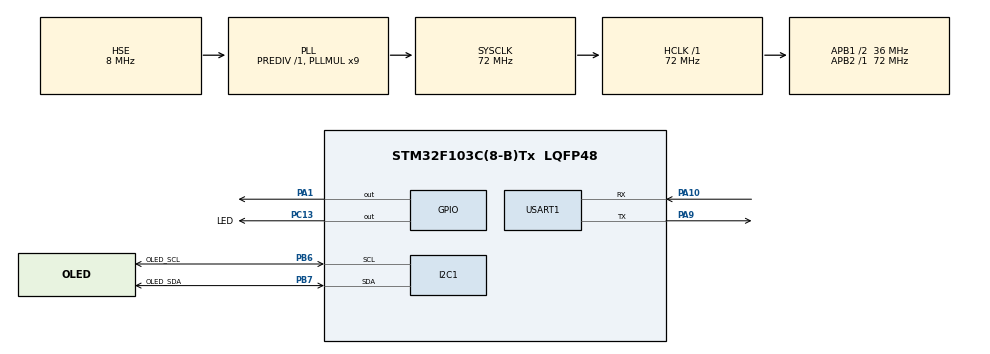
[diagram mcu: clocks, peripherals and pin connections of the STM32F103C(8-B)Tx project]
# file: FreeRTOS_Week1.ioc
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FREERTOS.Mutexes01=uartMutex,Dynamic,NULL,Available
FREERTOS.Queues01=sensorQueue,5,8,1,Dynamic,NULL,NULL;DHT11DataQueue,5,48,1,Dynamic,NULL,NULL;MPU6050DataQueue,5,48,1,Dynamic,NULL,NULL;FusedDataQueue,5,48,1,Dynamic,NULL,NULL
FREERTOS.Tasks01=Task_LED,24,128,StartLEDTask,Default,NULL,Dynamic,NULL,NULL;Task_Display,24,256,StartDisplayTask,Default,NULL,Dynamic,NULL,NULL;Sensor_Task1,24,256,Sensor_Task,Default,NULL,Dynamic,NULL,NULL;IMU,24,512,IMU_Task,Default,NULL,Dynamic,NULL,NULL;DataFusion,24,128,DataFusion_Task,Default,NULL,Dynamic,NULL,NULL
FREERTOS.configTOTAL_HEAP_SIZE=10240
FREERTOS.configUSE_NEWLIB_REENTRANT=1
Mcu.Family=STM32F1
Mcu.Name=STM32F103C(8-B)Tx
Mcu.Package=LQFP48
NVIC.PriorityGroup=NVIC_PRIORITYGROUP_4
NVIC.USART1_IRQn=true\:5\:0\:false\:false\:true\:true\:true\:true\:true
PA1.Signal=GPIO_Output
PA10.Mode=Asynchronous
PA10.Signal=USART1_RX
PA13.Mode=JTAG_4_pins
PA13.Signal=SYS_JTMS-SWDIO
PA14.Mode=JTAG_4_pins
PA14.Signal=SYS_JTCK-SWCLK
PA15.Mode=JTAG_4_pins
PA15.Signal=SYS_JTDI
PA9.Mode=Asynchronous
PA9.Signal=USART1_TX
PB3.Mode=JTAG_4_pins
PB3.Signal=SYS_JTDO-TRACESWO
PB6.GPIO_Label=OLED_SCL
PB6.Mode=I2C
PB6.Signal=I2C1_SCL
PB7.GPIO_Label=OLED_SDA
PB7.Mode=I2C
PB7.Signal=I2C1_SDA
PC13-TAMPER-RTC.GPIO_Label=LED
PC13-TAMPER-RTC.Signal=GPIO_Output
PD0-OSC_IN.Mode=HSE-External-Oscillator
PD0-OSC_IN.Signal=RCC_OSC_IN
PD1-OSC_OUT.Mode=HSE-External-Oscillator
PD1-OSC_OUT.Signal=RCC_OSC_OUT
ProjectManager.HeapSize=0x200
ProjectManager.StackSize=0x400
ProjectManager.TargetToolchain=STM32CubeIDE
RCC.AHBFreq_Value=72000000
RCC.APB1CLKDivider=RCC_HCLK_DIV2
RCC.APB1Freq_Value=36000000
RCC.APB1TimFreq_Value=72000000
RCC.APB2Freq_Value=72000000
RCC.APB2TimFreq_Value=72000000
RCC.HCLKFreq_Value=72000000
RCC.PLLMUL=RCC_PLL_MUL9
RCC.PLLSourceVirtual=RCC_PLLSOURCE_HSE
RCC.SYSCLKFreq_VALUE=72000000
RCC.SYSCLKSource=RCC_SYSCLKSOURCE_PLLCLK
RCC.USBFreq_Value=72000000
USART1.VirtualMode=VM_ASYNC
VP_FREERTOS_VS_CMSIS_V2.Mode=CMSIS_V2
board=custom

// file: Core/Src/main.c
/* USER CODE BEGIN Header */
//STMicroelectronics版权声明
//包含必要的许可证信息
/**
 ******************************************************************************
 * @file           : main.c
 * @brief          : Main program body
 ******************************************************************************
 * @attention
 *
 * Copyright (c) 2026 STMicroelectronics.
 * All rights reserved.
 *
 * This software is licensed under terms that can be found in the LICENSE file
 * in the root directory of this software component.
 * If no LICENSE file comes with this software, it is provided AS-IS.
 *
 ******************************************************************************
 */
/* USER CODE END Header */
#include "main.h"
#include "cmsis_os.h"
#include "i2c.h"
#include "usart.h"
#include "gpio.h"

/* USER CODE BEGIN Includes */
#include "ssd1306.h"  // 添加这行
#include "i2c.h"      // 可能也需要
#include "dht11.h"
#include <stdio.h>
/* USER CODE END Includes */

/* USER CODE BEGIN PTD */
//PTD：私有类型定义
/* USER CODE END PTD */

/* USER CODE BEGIN PD */
//PD：私有定义
/* USER CODE END PD */

/* USER CODE BEGIN PM */
//PM：私有宏
/* USER CODE END PM */

/* USER CODE BEGIN PV */
//PV：私有变量
/* USER CODE END PV */

void SystemClock_Config(void);
void MX_FREERTOS_Init(void);
/* USER CODE BEGIN PFP */
//PFP：用户定义的私有函数原型
/* USER CODE END PFP */

/* USER CODE BEGIN 0 */
extern I2C_HandleTypeDef hi2c1;

int _write(int file, char *ptr, int len) {
	HAL_UART_Transmit(&huart1, (uint8_t*) ptr, len, HAL_MAX_DELAY);
	return len;
}

// 声明safe_printf（因为main.c中也要用）
void safe_printf(const char *format, ...);

/* USER CODE END 0 */

int main(void)
{

  /* USER CODE BEGIN 1 */
//	DHT11_Data_t dht11_data;
//	uint8_t dht11_status;
//	uint32_t test_count = 0;
  /* USER CODE END 1 */

  /* MCU Configuration--------------------------------------------------------*/

  /* Reset of all peripherals, Initializes the Flash interface and the Systick. */
  HAL_Init();

  /* Configure the system clock */
  SystemClock_Config();

  /* Initialize all configured peripherals */
  MX_GPIO_Init();
  MX_I2C1_Init();
  MX_USART1_UART_Init();
  /* USER CODE BEGIN 2 */
	// 在这里添加OLED测试代码
//  OLED_Init(hi2c1);
//  OLED_Fill(0x00);
//  OLED_BOOL_DrawStr(0, 0, (uint8_t*)"OLED Test OK", OLED_BOOL_Replace);
//  OLED_Refresh();
//  HAL_Delay(2000);
//  OLED_Fill(0x00);
//  OLED_Refresh();
// 等待串口稳定
	HAL_Delay(100);

	// 原来的printf都改为safe_printf
//      safe_printf("\r\n\r\n");
//      safe_printf("================================\r\n");
//      safe_printf("  STM32F103 UART Test Program\r\n");
//      safe_printf("  Compiled: %s %s\r\n", __DATE__, __TIME__);
//      safe_printf("================================\r\n\r\n");
//
//      safe_printf("Integer test: %d\r\n", 1234);
//      safe_printf("Float test: PI = %.4f\r\n", 3.14159f);
//
//      float temperature = 25.5f;
//      float humidity = 60.3f;
//      safe_printf("DHT11 Simulation:\r\n");
//      safe_printf("  Temperature: %.1fC\r\n", temperature);
//      safe_printf("  Humidity: %.1f%%\r\n", humidity);
//
//      safe_printf("=== Test Complete, Starting FreeRTOS ===\r\n\r\n");
	printf("\r\n\r\n");
	printf("================================\r\n");
	printf("  STM32F103 UART Test Program\r\n");
	printf("  Compiled: %s %s\r\n", __DATE__, __TIME__);
	printf("================================\r\n\r\n");

	printf("Integer test: %d\r\n", 1234);
	printf("Float test: PI = %.4f\r\n", 3.14159f);

	float temperature = 25.5f;
	float humidity = 60.3f;
	printf("DHT11 Simulation:\r\n");
	printf("  Temperature: %.1fC\r\n", temperature);
	printf("  Humidity: %.1f%%\r\n", humidity);

	printf("=== Test Complete, Starting FreeRTOS ===\r\n\r\n");

  /* USER CODE END 2 */

  /* Init scheduler */
  osKernelInitialize();

  /* Call init function for freertos objects (in cmsis_os2.c) */
  MX_FREERTOS_Init();

  /* Start scheduler */
  osKernelStart();

  /* We should never get here as control is now taken by the scheduler */

  /* Infinite loop */
	while (1) {

	}
}

void SystemClock_Config(void)
{
  RCC_OscInitTypeDef RCC_OscInitStruct = {0};
  RCC_ClkInitTypeDef RCC_ClkInitStruct = {0};

  /** Initializes the RCC Oscillators according to the specified parameters
  * in the RCC_OscInitTypeDef structure.
  */
  RCC_OscInitStruct.OscillatorType = RCC_OSCILLATORTYPE_HSE;
  RCC_OscInitStruct.HSEState = RCC_HSE_ON;
  RCC_OscInitStruct.HSEPredivValue = RCC_HSE_PREDIV_DIV1;
  RCC_OscInitStruct.HSIState = RCC_HSI_ON;
  RCC_OscInitStruct.PLL.PLLState = RCC_PLL_ON;
  RCC_OscInitStruct.PLL.PLLSource = RCC_PLLSOURCE_HSE;
  RCC_OscInitStruct.PLL.PLLMUL = RCC_PLL_MUL9;
  if (HAL_RCC_OscConfig(&RCC_OscInitStruct) != HAL_OK)
  {
    Error_Handler();
  }

  /** Initializes the CPU, AHB and APB buses clocks
  */
  RCC_ClkInitStruct.ClockType = RCC_CLOCKTYPE_HCLK|RCC_CLOCKTYPE_SYSCLK
                              |RCC_CLOCKTYPE_PCLK1|RCC_CLOCKTYPE_PCLK2;
  RCC_ClkInitStruct.SYSCLKSource = RCC_SYSCLKSOURCE_PLLCLK;
  RCC_ClkInitStruct.AHBCLKDivider = RCC_SYSCLK_DIV1;
  RCC_ClkInitStruct.APB1CLKDivider = RCC_HCLK_DIV2;
  RCC_ClkInitStruct.APB2CLKDivider = RCC_HCLK_DIV1;

  if (HAL_RCC_ClockConfig(&RCC_ClkInitStruct, FLASH_LATENCY_2) != HAL_OK)
  {
    Error_Handler();
  }
}

void Error_Handler(void)
{
	__disable_irq();
	while (1) {
	}
}

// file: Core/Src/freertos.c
/* USER CODE BEGIN Header */
/**
 ******************************************************************************
 * File Name          : freertos.c
 * Description        : Code for freertos applications
 ******************************************************************************
 * @attention
 *
 * Copyright (c) 2026 STMicroelectronics.
 * All rights reserved.
 *
 * This software is licensed under terms that can be found in the LICENSE file
 * in the root directory of this software component.
 * If no LICENSE file comes with this software, it is provided AS-IS.
 *
 ******************************************************************************
 */
/* USER CODE END Header */

#include "FreeRTOS.h"
#include "task.h"
#include "main.h"
#include "cmsis_os.h"

/* USER CODE BEGIN Includes */

#include "ssd1306.h"
#include "i2c.h"        // 需要I2C句柄
#include <stdio.h>
#include <string.h>
#include "dht11.h"
#include "usart.h"  // 添加这行，包含huart1的声明
#include <stdarg.h>  // 需要这个头文件
#include "sensor_data.h"
#include "data_fusion.h"
#include "mpu6050.h"

/* USER CODE END Includes */

/* USER CODE BEGIN Variables */

extern I2C_HandleTypeDef hi2c1;
extern osMessageQueueId_t sensorQueueHandle;
extern UART_HandleTypeDef huart1;  // 添加这行，声明外部变量
MPU6050_t mpu_data;

/* USER CODE END Variables */
/* Definitions for Task_LED */
osThreadId_t Task_LEDHandle;
const osThreadAttr_t Task_LED_attributes = { .name = "Task_LED", .stack_size =
		128 * 4, .priority = (osPriority_t) osPriorityNormal, };
/* Definitions for Task_Display */
osThreadId_t Task_DisplayHandle;
const osThreadAttr_t Task_Display_attributes = { .name = "Task_Display",
		.stack_size = 256 * 4, .priority = (osPriority_t) osPriorityNormal, };
/* Definitions for Sensor_Task1 */
osThreadId_t Sensor_Task1Handle;
const osThreadAttr_t Sensor_Task1_attributes = { .name = "Sensor_Task1",
		.stack_size = 256 * 4, .priority = (osPriority_t) osPriorityNormal, };
/* Definitions for IMU */
osThreadId_t IMUHandle;
const osThreadAttr_t IMU_attributes = { .name = "IMU", .stack_size = 512 * 4,
		.priority = (osPriority_t) osPriorityNormal, };
/* Definitions for DataFusion */
osThreadId_t DataFusionHandle;
const osThreadAttr_t DataFusion_attributes = { .name = "DataFusion",
		.stack_size = 128 * 4, .priority = (osPriority_t) osPriorityNormal, };
/* Definitions for sensorQueue */
osMessageQueueId_t sensorQueueHandle;
const osMessageQueueAttr_t sensorQueue_attributes = { .name = "sensorQueue" };
/* Definitions for DHT11DataQueue */
osMessageQueueId_t DHT11DataQueueHandle;
const osMessageQueueAttr_t DHT11DataQueue_attributes = { .name =
		"DHT11DataQueue" };
/* Definitions for MPU6050DataQueue */
osMessageQueueId_t MPU6050DataQueueHandle;
const osMessageQueueAttr_t MPU6050DataQueue_attributes = { .name =
		"MPU6050DataQueue" };
/* Definitions for FusedDataQueue */
osMessageQueueId_t FusedDataQueueHandle;
const osMessageQueueAttr_t FusedDataQueue_attributes = { .name =
		"FusedDataQueue" };
/* Definitions for uartMutex */
osMutexId_t uartMutexHandle;
const osMutexAttr_t uartMutex_attributes = { .name = "uartMutex" };

/* USER CODE BEGIN FunctionPrototypes */

// 声明safe_printf函数
void safe_printf(const char *format, ...);

/* USER CODE END FunctionPrototypes */

void StartLEDTask(void *argument);
void StartDisplayTask(void *argument);
void Sensor_Task(void *argument);
void IMU_Task(void *argument);
void DataFusion_Task(void *argument);

void MX_FREERTOS_Init(void); /* (MISRA C 2004 rule 8.1) */

void MX_FREERTOS_Init(void) {
	/* USER CODE BEGIN Init */

	// 初始化LED为灭
	HAL_GPIO_WritePin(LED_GPIO_Port, LED_Pin, GPIO_PIN_SET);

	/* USER CODE END Init */
	/* Create the mutex(es) */
	/* creation of uartMutex */
	//uartMutexHandle = osMutexNew(&uartMutex_attributes);

	/* Create the queue(s) */
	/* creation of sensorQueue */
	sensorQueueHandle = osMessageQueueNew(5, 8, &sensorQueue_attributes);

	/* creation of DHT11DataQueue */
	//DHT11DataQueueHandle = osMessageQueueNew(5, 48, &DHT11DataQueue_attributes);

	/* creation of MPU6050DataQueue */
//	MPU6050DataQueueHandle = osMessageQueueNew(5, 48,
//			&MPU6050DataQueue_attributes);

	/* creation of FusedDataQueue */
	//FusedDataQueueHandle = osMessageQueueNew(5, 48, &FusedDataQueue_attributes);

	/* Create the thread(s) */
	/* creation of Task_LED */
	Task_LEDHandle = osThreadNew(StartLEDTask, NULL, &Task_LED_attributes);

	/* creation of Task_Display */
	Task_DisplayHandle = osThreadNew(StartDisplayTask, NULL,
			&Task_Display_attributes);

	/* creation of Sensor_Task1 */
	Sensor_Task1Handle = osThreadNew(Sensor_Task, NULL,
			&Sensor_Task1_attributes);

	/* creation of IMU */
//	IMUHandle = osThreadNew(IMU_Task, NULL, &IMU_attributes);

	/* creation of DataFusion */
//	DataFusionHandle = osThreadNew(DataFusion_Task, NULL,
//			&DataFusion_attributes);

}

void StartLEDTask(void *argument) {
	/* USER CODE BEGIN StartLEDTask */

	printf("初始化成功！！！！！！\n\n");
	// 启动后先亮1秒表示系统启动
	HAL_GPIO_WritePin(LED_GPIO_Port, LED_Pin, GPIO_PIN_RESET);
	osDelay(1000);
	HAL_GPIO_WritePin(LED_GPIO_Port, LED_Pin, GPIO_PIN_SET);
	osDelay(1000);

	for (;;) {
		// 系统心跳：每3秒闪一次（亮200ms）
		HAL_GPIO_WritePin(LED_GPIO_Port, LED_Pin, GPIO_PIN_RESET);
		osDelay(200);
		HAL_GPIO_WritePin(LED_GPIO_Port, LED_Pin, GPIO_PIN_SET);
		osDelay(2800);
	}

//	for (;;) {
//		// 亮1s
//		HAL_GPIO_WritePin(LED_GPIO_Port, LED_Pin, GPIO_PIN_RESET);
//
//		osDelay(1000);
//
//		// 灭2s（总共3秒周期）
//		HAL_GPIO_WritePin(LED_GPIO_Port, LED_Pin, GPIO_PIN_SET);
//
//		osDelay(2000);
//	}
	/* USER CODE END StartLEDTask */
}

void StartDisplayTask(void *argument) {
	/* USER CODE BEGIN StartDisplayTask */
	DHT11_Data_t sensor_data;
	char buffer[32];
	uint32_t display_counter = 0;
	//uint32_t data_count = 0;

// 等待系统稳定
	osDelay(800);

	// 初始化OLED
	OLED_Init(hi2c1);
	osDelay(50);  // 等待初始化完成

	// 清屏
	OLED_Fill(0x00);
	osDelay(50);

	// 显示固定标题
	OLED_BOOL_DrawStr(0, 0, (uint8_t*) "FreeRTOS Day4", 0x00);
	OLED_BOOL_DrawStr(0, 16, (uint8_t*) "DHT11 Online", 0x00);

	// 初始化显示
	OLED_BOOL_DrawStr(0, 32, (uint8_t*) "Run:000000", 0x00);

	// 初始化温湿度显示区域（显示"--"表示等待数据）
	OLED_BOOL_DrawStr(0, 48, (uint8_t*) "T:--C", 0x00);
	OLED_BOOL_DrawStr(64, 48, (uint8_t*) "H:--%", 0x00);
	OLED_Refresh();

	for (;;) {

		display_counter++;

		// 1. 更新运行计数器
		// 方案A：先写空格清除，再写新内容（简单可靠）
		OLED_BOOL_DrawStr(24, 32, (uint8_t*) "      ", 0x00); // 清除"Run:"后面的6位数字
		sprintf(buffer, "%06lu", display_counter);
		OLED_BOOL_DrawStr(24, 32, (uint8_t*) buffer, 0x00);

		// 2. 尝试获取传感器数据
		if (osMessageQueueGet(sensorQueueHandle, &sensor_data, NULL, 0)
				== osOK) {
			// 显示温度（先清除旧温度数字）
			OLED_BOOL_DrawStr(8, 48, (uint8_t*) "  ", 0x00);  // 清除温度数字（2位）
			sprintf(buffer, "%2d", (int) sensor_data.temperature);
			OLED_BOOL_DrawStr(8, 48, (uint8_t*) buffer, 0x00);

			// 显示湿度（先清除旧湿度数字）
			OLED_BOOL_DrawStr(72, 48, (uint8_t*) "  ", 0x00);  // 清除湿度数字（2位）
			sprintf(buffer, "%2d", sensor_data.humidity);
			OLED_BOOL_DrawStr(72, 48, (uint8_t*) buffer, 0x00);

			// 可选：显示数据计数
			// OLED_BOOL_DrawStr(64, 32, (uint8_t*)"     ", 0x00);
			// sprintf(buffer, "D:%03lu", data_count);
			// OLED_BOOL_DrawStr(64, 32, (uint8_t*)buffer, 0x00);
		} else {
			// 无新数据时显示"--"
			OLED_BOOL_DrawStr(8, 48, (uint8_t*) "--", 0x00);
			OLED_BOOL_DrawStr(72, 48, (uint8_t*) "--", 0x00);

		}

		OLED_Refresh();
		osDelay(1000);
	}

	/* USER CODE END StartDisplayTask */
}

void Sensor_Task(void *argument) {
	/* USER CODE BEGIN Sensor_Task */

	DHT11_Data_t sensor_data;
	sensor_data_t sensor_packet;
	uint8_t read_status;
	uint32_t read_count = 0;
	uint32_t success_count = 0;
	uint32_t fail_count = 0;
	static uint32_t packet_counter = 0;

	// 初始化DHT11
	if (DHT11_Init() != 0) {
		// 初始化失败：快速闪烁LED然后任务结束
		//safe_printf("[DHT11] Initialization failed!\n");
		printf("[DHT11] Initialization failed!\n\n");
		for (int i = 0; i < 10; i++) {
			HAL_GPIO_TogglePin(LED_GPIO_Port, LED_Pin);
			osDelay(100);
		}
		osThreadTerminate(osThreadGetId());
		return;
	}

	// 初始化成功：慢闪3次
	safe_printf("[DHT11] Initialization successful\n\n");
	//printf("[DHT11] Initialization successful\n");
	for (int i = 0; i < 3; i++) {
		HAL_GPIO_WritePin(LED_GPIO_Port, LED_Pin, GPIO_PIN_RESET);
		osDelay(300);
		HAL_GPIO_WritePin(LED_GPIO_Port, LED_Pin, GPIO_PIN_SET);
		osDelay(300);
	}

	for (;;) {
		// 读取DHT11
		read_status = DHT11_Read(&sensor_data);
		read_count++;

		if (read_status == 0) {
			// 读取成功
			success_count++;
			// 发送到队列
			osMessageQueuePut(sensorQueueHandle, &sensor_data, 0, 0);//突然不太懂这句话是啥意思，这个句柄是正确的吗？

			// 第3天核心：输出到串口
			uint32_t current_time = HAL_GetTick();
			safe_printf(
					"[%6lu] #%4lu | Temp: %5.1fC | Humi: %3d%% | OK:%3lu | Fail:%3lu\n\n",
					current_time, read_count, sensor_data.temperature,  // float
					sensor_data.humidity,         // uint8_t
					success_count, fail_count);
			printf(
					"[%6lu] #%4lu | Temp: %5.1fC | Humi: %3d%% | OK:%3lu | Fail:%3lu\n",
					current_time, read_count, sensor_data.temperature,  // float
					sensor_data.humidity,         // uint8_t
					success_count, fail_count);

//			sensor_packet.temperature_c = sensor_data.temperature;
//			sensor_packet.humidity = sensor_data.humidity;
//			sensor_packet.dht_status = 0;
//
//			sensor_packet.accel_x = 0.0f;
//			sensor_packet.accel_y = 0.0f;
//			sensor_packet.accel_z = 0.0f;
//			sensor_packet.gyro_x = 0.0f;
//			sensor_packet.gyro_y = 0.0f;
//			sensor_packet.gyro_z = 0.0f;
//			sensor_packet.imu_temp_c = 0.0f;
//			sensor_packet.imu_status = 0;
//
//			sensor_packet.timestamp_ms = HAL_GetTick();
//			sensor_packet.packet_id = packet_counter++;
//
//			osStatus_t queue_status = osMessageQueuePut(DHT11DataQueueHandle,
//					&sensor_packet, 0, 0);
//
//			if (queue_status == osOK) {
//				safe_printf("[DHT11] 数据包 %lu 已发送到队列\n",
//						sensor_packet.packet_id);
//			} else {
//				safe_printf("[DHT11] 错误： 无法发送数据包到队列（状态：%d）\n", queue_status);
//			}
//
//			uint32_t current_time = HAL_GetTick();
//			safe_printf(
//					"[%6lu] #%4lu | Temp: %5.1fC | Humi:%3d%% | OK:%3lu | Fail:%3lu | 已发送到队列\n\n",
//					current_time, read_count, sensor_data.temperature,
//					sensor_data.humidity, success_count, fail_count);

		} else {
			// 读取失败
			fail_count++;
			uint32_t current_time = HAL_GetTick();
			safe_printf(
					"[%6lu] #%4lu | DHT11 read failed (error: %d) | OK:%3lu | Fail:%3lu\n\n",
					current_time, read_count, read_status, success_count,
					fail_count);
			printf(
					"[%6lu] #%4lu | DHT11 read failed (error: %d) | OK:%3lu | Fail:%3lu\n",
					current_time, read_count, read_status, success_count,
					fail_count);

//			fail_count++;
//			sensor_packet.temperature_c = 0.0f;
//			sensor_packet.humidity = 0;
//			sensor_packet.dht_status = read_status;
//
//			sensor_packet.accel_x = 0.0f;
//			sensor_packet.accel_y = 0.0f;
//			sensor_packet.accel_z = 0.0f;
//			sensor_packet.gyro_x = 0.0f;
//			sensor_packet.gyro_y = 0.0f;
//			sensor_packet.gyro_z = 0.0f;
//			sensor_packet.imu_temp_c = 0.0f;
//			sensor_packet.imu_status = 0;
//
//			sensor_packet.timestamp_ms = HAL_GetTick();
//			sensor_packet.packet_id = packet_counter++;
//
//			osMessageQueuePut(DHT11DataQueueHandle, &sensor_packet, 0, 0);
//
//			uint32_t current_time = HAL_GetTick();
//			safe_printf(
//					"[%6lu] #%4lu | DHT11 read failed (error: %d) | OK:%3lu | Fail:%3lu\n\n",
//					current_time, read_count, read_status, success_count,
//					fail_count);
//			printf(
//					"[%6lu] #%4lu | DHT11 read failed (error: %d) | OK:%3lu | Fail:%3lu\n",
//					current_time, read_count, read_status, success_count,
//					fail_count);

		}

		// DHT11需要至少1秒间隔
		osDelay(2000);
	}

	/* USER CODE END Sensor_Task */
}

void IMU_Task(void *argument) {
	/* USER CODE BEGIN IMU_Task */

//	printf("[DEBUG] sizeof(sensor_data_t) = %d bytes\r\n",
//			(int) sizeof(sensor_data_t));

	printf("[IMU] MPU6050任务启动...\r\n");
	printf("[IMU] 尝试初始化MPU6050...\r\n");

	/* 初始化MPU6050 */
	uint8_t init_result = MPU6050_Init(&hi2c1);

	if (init_result != 0) {
		printf("[ERROR] MPU6050初始化失败！错误码：%d\r\n", init_result);
		printf("[提示] 请检查：\r\n");
		printf("  1. I2C连接 (SCL-PB6, SDA-PB7)\r\n");
		printf("  2. MPU6050电源 (VCC-3.3V, GND-GND)\r\n");
		printf("  3. AD0引脚 (接地=0x68)\r\n");
		vTaskDelete(NULL);
	}

	printf("[IMU] MPU6050初始化成功！\r\n");
	printf("[IMU] 开始读取传感器数据...\r\n\r\n");

//	sensor_data_t sensor_packet;
//	static uint32_t packet_counter = 0;

	/* Infinite loop */
	for (;;) {
		/* 读取所有传感器数据 */
		MPU6050_Read_All(&hi2c1, &mpu_data);

//		/* 输出到串口 - 格式化显示 */
//		printf("┌─────────────────────────────┐\r\n");
//		printf("│        MPU6050 数据         │\r\n");
//		printf("├─────────────────────────────┤\r\n");
//
//		// 加速度数据
//		printf("│ 加速度 (g)                  │\r\n");
//		printf("│   X: %+6.3f  Y: %+6.3f      │\r\n", mpu_data.Ax, mpu_data.Ay);
//		printf("│   Z: %+6.3f                 │\r\n", mpu_data.Az);
//
//		// 陀螺仪数据
//		printf("│ 陀螺仪 (°/s)                │\r\n");
//		printf("│   X: %+7.2f  Y: %+7.2f      │\r\n", mpu_data.Gx, mpu_data.Gy);
//		printf("│   Z: %+7.2f                 │\r\n", mpu_data.Gz);
//
//		// 温度
//		printf("│ 温度: %6.1f°C               │\r\n", mpu_data.Temperature);
//
//		// 卡尔曼滤波角度
//		printf("│ 角度 (°)                    │\r\n");
//		printf("│   Roll(X): %+6.2f           │\r\n", mpu_data.KalmanAngleX);
//		printf("│   Pitch(Y): %+6.2f          │\r\n", mpu_data.KalmanAngleY);
//
//		printf("└─────────────────────────────┘\r\n\r\n");

		// 简洁单行格式（只显示关键数据）
		safe_printf(
				"[IMU] Acc: %5.2f %5.2f %5.2f g | Gyro: %6.1f %6.1f %6.1f °/s | Temp: %4.1f°C | Ang: %5.1f %5.1f°\r\n\n",
				mpu_data.Ax, mpu_data.Ay, mpu_data.Az,  // 加速度 XYZ
				mpu_data.Gx, mpu_data.Gy, mpu_data.Gz,  // 陀螺仪 XYZ
				mpu_data.Temperature,                   // 温度
				mpu_data.KalmanAngleX, mpu_data.KalmanAngleY); // 角度

//		// 1. 填充MPU6050数据
//		sensor_packet.accel_x = mpu_data.Ax;
//		sensor_packet.accel_y = mpu_data.Ay;
//		sensor_packet.accel_z = mpu_data.Az;
//		sensor_packet.gyro_x = mpu_data.Gx;
//		sensor_packet.gyro_y = mpu_data.Gy;
//		sensor_packet.gyro_z = mpu_data.Gz;
//		sensor_packet.imu_temp_c = mpu_data.Temperature;
//		sensor_packet.imu_status = 0;  // 正常状态
//
//		// 2. DHT11字段先填0或默认值（因为没有DHT11数据）
//		sensor_packet.temperature_c = 0.0f;
//		sensor_packet.humidity = 0;
//		sensor_packet.dht_status = 255;  // 255表示无DHT11数据
//
//		// 3. 填充时间和包ID
//		sensor_packet.timestamp_ms = HAL_GetTick();
//		sensor_packet.packet_id = packet_counter++;
//
//		// 4. 发送到MPU6050队列
//		osStatus_t queue_status = osMessageQueuePut(MPU6050DataQueueHandle,
//				&sensor_packet, 0, 0);
//
//		if (queue_status == osOK) {
//			safe_printf("[MPU6050] 数据包 %lu 已发送到队列\n", sensor_packet.packet_id);
//		} else {
//			safe_printf("[MPU6050] 错误：无法发送数据包到队列（状态: %d）\n", queue_status);
//		}
//
//		safe_printf(
//				"[MPU6050] Acc: %5.2f %5.2f %5.2f g | Gyro: %6.1f %6.1f %6.1f °/s | Temp: %4.1f°C | 已发送到队列\n\n",
//				mpu_data.Ax, mpu_data.Ay, mpu_data.Az,  // 加速度 XYZ
//				mpu_data.Gx, mpu_data.Gy, mpu_data.Gz,  // 陀螺仪 XYZ
//				mpu_data.Temperature);                   // 温度

		/* 延迟1秒 */
		vTaskDelay(1000);
	}
	/* USER CODE END IMU_Task */
}

void DataFusion_Task(void *argument) {
	/* USER CODE BEGIN DataFusion_Task */

//	sensor_data_t dht11_packet;
//	sensor_data_t mpu6050_packet;
//	sensor_data_t fused_packet;
//
//	osStatus_t dht11_status;
//	osStatus_t mpu6050_status;
//
//	uint32_t dht11_timeout = 100;
//	uint32_t mpu6050_timeout = 50;
//
//	uint32_t fusion_counter = 0;
//	uint32_t last_print_time = 0;
//	uint32_t print_interval = 2000;
//
//	printf("[DataFusion] 数据融合任务启动！ \n\n");
//	printf("[DataFusion] 等待传感器数据···\n\n");
//
//	memset(&dht11_packet, 0, sizeof(dht11_packet));
//	memset(&mpu6050_packet, 0, sizeof(mpu6050_packet));
//
//	/* Infinite loop */
//	for (;;) {
//
//		dht11_status = osMessageQueueGet(DHT11DataQueueHandle, &dht11_packet,
//		NULL, dht11_timeout);
//		mpu6050_status = osMessageQueueGet(MPU6050DataQueueHandle,
//				&mpu6050_packet, NULL, mpu6050_timeout);
//
//		uint32_t current_time = HAL_GetTick();
//
//		if (dht11_status == osOK || mpu6050_status == osOK) {
//			fusion_counter++;
//
//			memset(&fused_packet, 0, sizeof(fused_packet));
//
//			if (dht11_status == osOK) {
//				fused_packet.temperature_c = dht11_packet.temperature_c;
//				fused_packet.humidity = dht11_packet.humidity;
//				fused_packet.dht_status = dht11_packet.dht_status;
//			} else {
//				fused_packet.temperature_c = 0.0;
//				fused_packet.humidity = 0;
//				fused_packet.dht_status = 255;
//			}
//
//			if (mpu6050_status == osOK) {
//				fused_packet.accel_x = mpu6050_packet.accel_x;
//				fused_packet.accel_y = mpu6050_packet.accel_y;
//				fused_packet.accel_z = mpu6050_packet.accel_z;
//				fused_packet.gyro_x = mpu6050_packet.gyro_x;
//				fused_packet.gyro_y = mpu6050_packet.gyro_y;
//				fused_packet.gyro_z = mpu6050_packet.gyro_z;
//				fused_packet.imu_temp_c = mpu6050_packet.imu_temp_c;
//				fused_packet.imu_status = mpu6050_packet.imu_status;
//			} else {
//				// 未收到MPU6050数据
//				fused_packet.accel_x = 0.0f;
//				fused_packet.accel_y = 0.0f;
//				fused_packet.accel_z = 0.0f;
//				fused_packet.gyro_x = 0.0f;
//				fused_packet.gyro_y = 0.0f;
//				fused_packet.gyro_z = 0.0f;
//				fused_packet.imu_temp_c = 0.0f;
//				fused_packet.imu_status = 255;  // 255表示数据不可用
//			}
//
//			fused_packet.timestamp_ms = current_time;
//			fused_packet.packet_id = fusion_counter;
//
//			osStatus_t fused_status = osMessageQueuePut(FusedDataQueueHandle,
//					&fused_packet, 0, 0);
//
//			if (fused_status != osOK) {
//				safe_printf("[DataFusion] 警告：融合数据发送失败（状态：%d）\n", fused_status);
//			}
//
//			if (current_time - last_print_time > print_interval) {
//				last_print_time = current_time;
//
//				safe_printf(
//						"\n=================== 融合数据包 #%lu ===================\n",
//						fusion_counter);
//				safe_printf("时间戳: %lu ms\n", fused_packet.timestamp_ms);
//
//				// DHT11数据
//				if (fused_packet.dht_status == 0) {
//					safe_printf("DHT11  | 温度: %5.1f°C | 湿度: %3d%% | 状态: 正常\n",
//							fused_packet.temperature_c, fused_packet.humidity);
//				} else if (fused_packet.dht_status == 255) {
//					safe_printf("DHT11  | 数据: 不可用 | 状态: 等待数据\n");
//				} else {
//					safe_printf("DHT11  | 数据: 错误 | 状态码: %d\n",
//							fused_packet.dht_status);
//				}
//
//				// MPU6050数据
//				if (fused_packet.imu_status == 0) {
//					safe_printf("MPU6050| 加速度: X:%+6.3f Y:%+6.3f Z:%+6.3f g\n",
//							fused_packet.accel_x, fused_packet.accel_y,
//							fused_packet.accel_z);
//					safe_printf(
//							"       | 陀螺仪: X:%+7.2f Y:%+7.2f Z:%+7.2f °/s\n",
//							fused_packet.gyro_x, fused_packet.gyro_y,
//							fused_packet.gyro_z);
//					safe_printf("       | IMU温度: %5.1f°C\n",
//							fused_packet.imu_temp_c);
//				} else if (fused_packet.imu_status == 255) {
//					safe_printf("MPU6050| 数据: 不可用 | 状态: 等待数据\n");
//				} else {
//					safe_printf("MPU6050| 数据: 错误 | 状态码: %d\n",
//							fused_packet.imu_status);
//				}
//
//				// 数据来源统计
//				safe_printf("接收状态 | DHT11: %s | MPU6050: %s\n",
//						(dht11_status == osOK) ? "✓" : "✗",
//						(mpu6050_status == osOK) ? "✓" : "✗");
//				safe_printf(
//						"===================================================\n\n");
//			}
//		} else {
//
//			// 两个队列都没有数据，稍微延迟一下
//			osDelay(1000);
//		}
//	}
	/* USER CODE END DataFusion_Task */
}

/* USER CODE BEGIN Application */

/*
 * 这是一个自定义的printf函数，用法和printf完全一样
 */
// 安全打印函数（线程安全）
void safe_printf(const char *format, ...) {

//	const char *format: 格式化字符串（类似printf的第一个参数）
//	...: 可变参数，表示可以接受不定数量的参数
//	char buffer[128];   // 临时缓冲区，存放格式化后的字符串
//	va_list args;       // 可变参数列表对象
//
//	// 尝试获取互斥锁（等待最多100ms）
//	if (osMutexAcquire(uartMutexHandle, 100) == osOK) {
//		// 格式化字符串
//		va_start(args, format);      // 初始化参数列表
//		vsnprintf(buffer, sizeof(buffer), format, args);   // 格式化到buffer
//		va_end(args);               // 清理参数列表
//
//		// 发送到串口
//		HAL_UART_Transmit(&huart1, (uint8_t*) buffer, strlen(buffer),
//		HAL_MAX_DELAY);
//
//		// 释放互斥锁
//		osMutexRelease(uartMutexHandle);

	// 这里先做最简单的实现
	char buffer[128];
	va_list args;

	// 获取互斥锁（如果失败就直接返回）
	if (osMutexAcquire(uartMutexHandle, 100) != osOK) {
		return;
	}

	va_start(args, format);
	vsnprintf(buffer, sizeof(buffer), format, args);
	va_end(args);

	HAL_UART_Transmit(&huart1, (uint8_t*) buffer, strlen(buffer),
	HAL_MAX_DELAY);

	osMutexRelease(uartMutexHandle);

}

/* USER CODE END Application */
